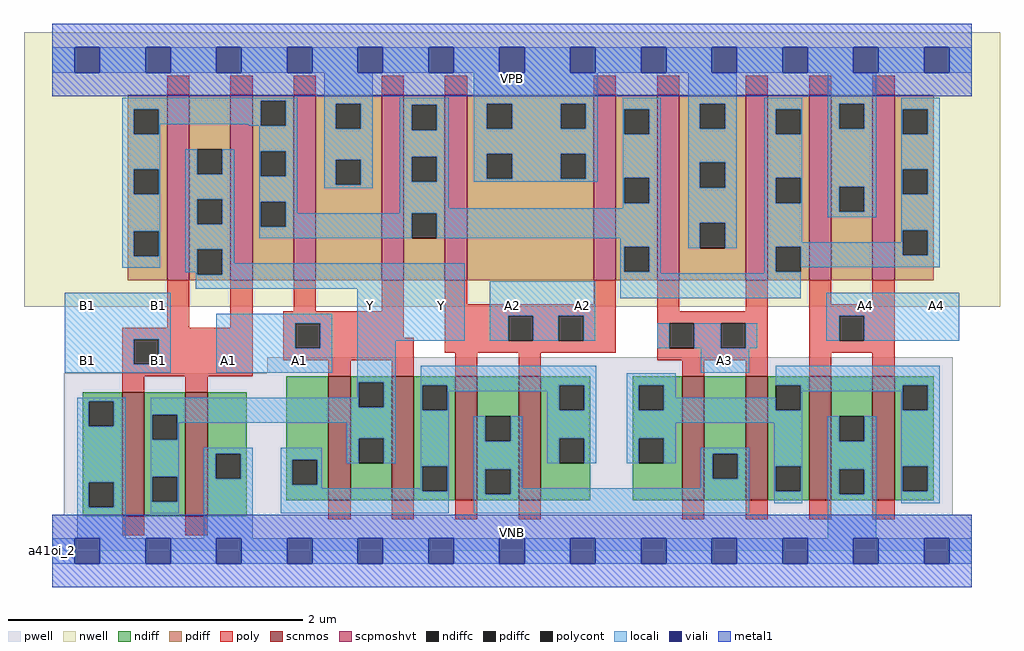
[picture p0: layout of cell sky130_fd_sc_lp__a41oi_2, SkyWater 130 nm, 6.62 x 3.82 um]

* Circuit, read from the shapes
.subckt sky130_fd_sc_lp__a41oi_2 A1 A2 A3 A4 B1 VGND VNB VPB VPWR Y
XM1 Y B1 VGND VNB sky130_fd_pr__nfet_01v8 w=0.84 l=0.15 m=2
XM2 Y A1 n1 VNB sky130_fd_pr__nfet_01v8 w=0.84 l=0.15 m=2
XM3 n2 A2 n1 VNB sky130_fd_pr__nfet_01v8 w=0.84 l=0.15 m=2
XM4 n2 A3 n3 VNB sky130_fd_pr__nfet_01v8 w=0.84 l=0.15 m=2
XM5 VGND A4 n3 VNB sky130_fd_pr__nfet_01v8 w=0.84 l=0.15 m=2
XM6 Y B1 n4 VPB sky130_fd_pr__pfet_01v8_hvt w=1.26 l=0.15 m=2
XM7 VPWR A1 n4 VPB sky130_fd_pr__pfet_01v8_hvt w=1.26 l=0.15 m=2
XM8 VPWR A2 n4 VPB sky130_fd_pr__pfet_01v8_hvt w=1.26 l=0.15 m=2
XM9 VPWR A3 n4 VPB sky130_fd_pr__pfet_01v8_hvt w=1.26 l=0.15 m=2
XM10 VPWR A4 n4 VPB sky130_fd_pr__pfet_01v8_hvt w=1.26 l=0.15 m=2
.ends

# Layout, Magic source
magic
tech sky130A
magscale 1 2
<< nwell >>
rect -38 331 1286 704
<< pwell >>
rect 292 241 1222 263
rect 16 49 1222 241
rect 0 0 1248 49
<< scnmos >>
rect 95 47 125 215
rect 181 47 211 215
rect 375 69 405 237
rect 461 69 491 237
rect 547 69 577 237
rect 633 69 663 237
rect 855 69 885 237
rect 941 69 971 237
rect 1027 69 1057 237
rect 1113 69 1143 237
<< scpmoshvt >>
rect 156 367 186 619
rect 242 367 272 619
rect 328 367 358 619
rect 447 367 477 619
rect 533 367 563 619
rect 735 367 765 619
rect 821 367 851 619
rect 941 367 971 619
rect 1027 367 1057 619
rect 1113 367 1143 619
<< ndiff >>
rect 42 203 95 215
rect 42 169 50 203
rect 84 169 95 203
rect 42 93 95 169
rect 42 59 50 93
rect 84 59 95 93
rect 42 47 95 59
rect 125 185 181 215
rect 125 151 136 185
rect 170 151 181 185
rect 125 101 181 151
rect 125 67 136 101
rect 170 67 181 101
rect 125 47 181 67
rect 211 132 264 215
rect 211 98 222 132
rect 256 98 264 132
rect 211 47 264 98
rect 318 124 375 237
rect 318 90 326 124
rect 360 90 375 124
rect 318 69 375 90
rect 405 229 461 237
rect 405 195 416 229
rect 450 195 461 229
rect 405 153 461 195
rect 405 119 416 153
rect 450 119 461 153
rect 405 69 461 119
rect 491 225 547 237
rect 491 191 502 225
rect 536 191 547 225
rect 491 115 547 191
rect 491 81 502 115
rect 536 81 547 115
rect 491 69 547 81
rect 577 183 633 237
rect 577 149 588 183
rect 622 149 633 183
rect 577 111 633 149
rect 577 77 588 111
rect 622 77 633 111
rect 577 69 633 77
rect 663 225 730 237
rect 663 191 688 225
rect 722 191 730 225
rect 663 153 730 191
rect 663 119 688 153
rect 722 119 730 153
rect 663 69 730 119
rect 788 225 855 237
rect 788 191 796 225
rect 830 191 855 225
rect 788 153 855 191
rect 788 119 796 153
rect 830 119 855 153
rect 788 69 855 119
rect 885 132 941 237
rect 885 98 896 132
rect 930 98 941 132
rect 885 69 941 98
rect 971 225 1027 237
rect 971 191 982 225
rect 1016 191 1027 225
rect 971 115 1027 191
rect 971 81 982 115
rect 1016 81 1027 115
rect 971 69 1027 81
rect 1057 183 1113 237
rect 1057 149 1068 183
rect 1102 149 1113 183
rect 1057 111 1113 149
rect 1057 77 1068 111
rect 1102 77 1113 111
rect 1057 69 1113 77
rect 1143 225 1196 237
rect 1143 191 1154 225
rect 1188 191 1196 225
rect 1143 115 1196 191
rect 1143 81 1154 115
rect 1188 81 1196 115
rect 1143 69 1196 81
<< pdiff >>
rect 103 599 156 619
rect 103 565 111 599
rect 145 565 156 599
rect 103 518 156 565
rect 103 484 111 518
rect 145 484 156 518
rect 103 434 156 484
rect 103 400 111 434
rect 145 400 156 434
rect 103 367 156 400
rect 186 545 242 619
rect 186 511 197 545
rect 231 511 242 545
rect 186 477 242 511
rect 186 443 197 477
rect 231 443 242 477
rect 186 409 242 443
rect 186 375 197 409
rect 231 375 242 409
rect 186 367 242 375
rect 272 611 328 619
rect 272 577 283 611
rect 317 577 328 611
rect 272 542 328 577
rect 272 508 283 542
rect 317 508 328 542
rect 272 474 328 508
rect 272 440 283 474
rect 317 440 328 474
rect 272 367 328 440
rect 358 607 447 619
rect 358 573 385 607
rect 419 573 447 607
rect 358 531 447 573
rect 358 497 385 531
rect 419 497 447 531
rect 358 367 447 497
rect 477 605 533 619
rect 477 571 488 605
rect 522 571 533 605
rect 477 535 533 571
rect 477 501 488 535
rect 522 501 533 535
rect 477 458 533 501
rect 477 424 488 458
rect 522 424 533 458
rect 477 367 533 424
rect 563 607 735 619
rect 563 573 590 607
rect 624 573 690 607
rect 724 573 735 607
rect 563 539 735 573
rect 563 505 590 539
rect 624 505 690 539
rect 724 505 735 539
rect 563 367 735 505
rect 765 599 821 619
rect 765 565 776 599
rect 810 565 821 599
rect 765 506 821 565
rect 765 472 776 506
rect 810 472 821 506
rect 765 413 821 472
rect 765 379 776 413
rect 810 379 821 413
rect 765 367 821 379
rect 851 607 941 619
rect 851 573 879 607
rect 913 573 941 607
rect 851 527 941 573
rect 851 493 879 527
rect 913 493 941 527
rect 851 445 941 493
rect 851 411 879 445
rect 913 411 941 445
rect 851 367 941 411
rect 971 599 1027 619
rect 971 565 982 599
rect 1016 565 1027 599
rect 971 506 1027 565
rect 971 472 982 506
rect 1016 472 1027 506
rect 971 413 1027 472
rect 971 379 982 413
rect 1016 379 1027 413
rect 971 367 1027 379
rect 1057 607 1113 619
rect 1057 573 1068 607
rect 1102 573 1113 607
rect 1057 494 1113 573
rect 1057 460 1068 494
rect 1102 460 1113 494
rect 1057 367 1113 460
rect 1143 599 1196 619
rect 1143 565 1154 599
rect 1188 565 1196 599
rect 1143 518 1196 565
rect 1143 484 1154 518
rect 1188 484 1196 518
rect 1143 435 1196 484
rect 1143 401 1154 435
rect 1188 401 1196 435
rect 1143 367 1196 401
<< ndiffc >>
rect 50 169 84 203
rect 50 59 84 93
rect 136 151 170 185
rect 136 67 170 101
rect 222 98 256 132
rect 326 90 360 124
rect 416 195 450 229
rect 416 119 450 153
rect 502 191 536 225
rect 502 81 536 115
rect 588 149 622 183
rect 588 77 622 111
rect 688 191 722 225
rect 688 119 722 153
rect 796 191 830 225
rect 796 119 830 153
rect 896 98 930 132
rect 982 191 1016 225
rect 982 81 1016 115
rect 1068 149 1102 183
rect 1068 77 1102 111
rect 1154 191 1188 225
rect 1154 81 1188 115
<< pdiffc >>
rect 111 565 145 599
rect 111 484 145 518
rect 111 400 145 434
rect 197 511 231 545
rect 197 443 231 477
rect 197 375 231 409
rect 283 577 317 611
rect 283 508 317 542
rect 283 440 317 474
rect 385 573 419 607
rect 385 497 419 531
rect 488 571 522 605
rect 488 501 522 535
rect 488 424 522 458
rect 590 573 624 607
rect 690 573 724 607
rect 590 505 624 539
rect 690 505 724 539
rect 776 565 810 599
rect 776 472 810 506
rect 776 379 810 413
rect 879 573 913 607
rect 879 493 913 527
rect 879 411 913 445
rect 982 565 1016 599
rect 982 472 1016 506
rect 982 379 1016 413
rect 1068 573 1102 607
rect 1068 460 1102 494
rect 1154 565 1188 599
rect 1154 484 1188 518
rect 1154 401 1188 435
<< poly >>
rect 156 619 186 645
rect 242 619 272 645
rect 328 619 358 645
rect 447 619 477 645
rect 533 619 563 645
rect 735 619 765 645
rect 821 619 851 645
rect 941 619 971 645
rect 1027 619 1057 645
rect 1113 619 1143 645
rect 156 303 186 367
rect 242 303 272 367
rect 328 325 358 367
rect 447 325 477 367
rect 95 287 272 303
rect 95 253 111 287
rect 145 253 272 287
rect 314 309 477 325
rect 314 275 330 309
rect 364 289 477 309
rect 533 335 563 367
rect 735 335 765 367
rect 533 319 765 335
rect 364 275 491 289
rect 314 259 491 275
rect 533 285 619 319
rect 653 285 687 319
rect 721 285 765 319
rect 533 269 765 285
rect 821 325 851 367
rect 941 325 971 367
rect 821 309 971 325
rect 821 275 837 309
rect 871 275 907 309
rect 941 275 971 309
rect 95 237 272 253
rect 375 237 405 259
rect 461 237 491 259
rect 547 237 577 269
rect 633 237 663 269
rect 821 259 971 275
rect 855 237 885 259
rect 941 237 971 259
rect 1027 335 1057 367
rect 1113 335 1143 367
rect 1027 319 1143 335
rect 1027 285 1068 319
rect 1102 285 1143 319
rect 1027 269 1143 285
rect 1027 237 1057 269
rect 1113 237 1143 269
rect 95 215 125 237
rect 181 215 211 237
rect 95 21 125 47
rect 181 21 211 47
rect 375 43 405 69
rect 461 43 491 69
rect 547 43 577 69
rect 633 43 663 69
rect 855 43 885 69
rect 941 43 971 69
rect 1027 43 1057 69
rect 1113 43 1143 69
<< polycont >>
rect 111 253 145 287
rect 330 275 364 309
rect 619 285 653 319
rect 687 285 721 319
rect 837 275 871 309
rect 907 275 941 309
rect 1068 285 1102 319
<< locali >>
rect 0 649 31 683
rect 65 649 127 683
rect 161 649 223 683
rect 257 649 319 683
rect 353 649 415 683
rect 449 649 511 683
rect 545 649 607 683
rect 641 649 703 683
rect 737 649 799 683
rect 833 649 895 683
rect 929 649 991 683
rect 1025 649 1087 683
rect 1121 649 1183 683
rect 1217 649 1248 683
rect 95 611 333 615
rect 95 599 283 611
rect 95 565 111 599
rect 145 579 283 599
rect 145 565 147 579
rect 267 577 283 579
rect 317 577 333 611
rect 95 518 147 565
rect 95 484 111 518
rect 145 484 147 518
rect 95 434 147 484
rect 95 400 111 434
rect 145 400 147 434
rect 95 384 147 400
rect 181 511 197 545
rect 231 511 247 545
rect 181 477 247 511
rect 181 443 197 477
rect 231 443 247 477
rect 181 409 247 443
rect 281 542 333 577
rect 281 508 283 542
rect 317 508 333 542
rect 281 474 333 508
rect 369 607 435 649
rect 369 573 385 607
rect 419 573 435 607
rect 369 531 435 573
rect 369 497 385 531
rect 419 497 435 531
rect 369 492 435 497
rect 472 605 538 615
rect 472 571 488 605
rect 522 571 538 605
rect 472 535 538 571
rect 472 501 488 535
rect 522 501 538 535
rect 572 607 740 649
rect 572 573 590 607
rect 624 573 690 607
rect 724 573 740 607
rect 572 539 740 573
rect 572 505 590 539
rect 624 505 690 539
rect 724 505 740 539
rect 572 501 740 505
rect 774 599 826 615
rect 774 565 776 599
rect 810 565 826 599
rect 774 506 826 565
rect 281 440 283 474
rect 317 458 333 474
rect 472 465 538 501
rect 774 472 776 506
rect 810 472 826 506
rect 774 465 826 472
rect 472 458 826 465
rect 317 440 488 458
rect 281 424 488 440
rect 522 424 826 458
rect 181 378 197 409
rect 195 375 197 378
rect 231 390 247 409
rect 771 413 826 424
rect 231 375 560 390
rect 195 356 560 375
rect 771 379 776 413
rect 810 379 826 413
rect 863 607 929 649
rect 863 573 879 607
rect 913 573 929 607
rect 863 527 929 573
rect 863 493 879 527
rect 913 493 929 527
rect 863 445 929 493
rect 863 411 879 445
rect 913 411 929 445
rect 966 599 1018 615
rect 966 565 982 599
rect 1016 565 1018 599
rect 966 506 1018 565
rect 966 472 982 506
rect 1016 472 1018 506
rect 966 419 1018 472
rect 1052 607 1118 649
rect 1052 573 1068 607
rect 1102 573 1118 607
rect 1052 494 1118 573
rect 1052 460 1068 494
rect 1102 460 1118 494
rect 1052 453 1118 460
rect 1152 599 1204 615
rect 1152 565 1154 599
rect 1188 565 1204 599
rect 1152 518 1204 565
rect 1152 484 1154 518
rect 1188 484 1204 518
rect 1152 435 1204 484
rect 1152 419 1154 435
rect 966 413 1154 419
rect 771 377 826 379
rect 966 379 982 413
rect 1016 401 1154 413
rect 1188 401 1204 435
rect 1016 385 1204 401
rect 966 377 1016 379
rect 17 287 161 350
rect 17 253 111 287
rect 145 253 161 287
rect 17 242 161 253
rect 223 309 380 322
rect 223 275 330 309
rect 364 275 380 309
rect 223 242 380 275
rect 414 285 560 356
rect 594 319 737 366
rect 771 343 1016 377
rect 594 285 619 319
rect 653 285 687 319
rect 721 285 737 319
rect 1050 319 1231 350
rect 414 229 466 285
rect 821 275 837 309
rect 871 275 907 309
rect 941 275 957 309
rect 1050 285 1068 319
rect 1102 285 1231 319
rect 414 208 416 229
rect 34 203 100 208
rect 34 169 50 203
rect 84 169 100 203
rect 34 93 100 169
rect 34 59 50 93
rect 84 59 100 93
rect 34 17 100 59
rect 134 195 416 208
rect 450 195 466 229
rect 134 185 466 195
rect 134 151 136 185
rect 170 174 466 185
rect 170 151 172 174
rect 134 101 172 151
rect 400 153 466 174
rect 134 67 136 101
rect 170 67 172 101
rect 134 51 172 67
rect 206 132 272 140
rect 206 98 222 132
rect 256 98 272 132
rect 206 17 272 98
rect 310 124 366 140
rect 310 90 326 124
rect 360 90 366 124
rect 400 119 416 153
rect 450 119 466 153
rect 500 225 738 251
rect 880 242 946 275
rect 500 191 502 225
rect 536 217 688 225
rect 536 191 538 217
rect 310 85 366 90
rect 500 115 538 191
rect 672 191 688 217
rect 722 191 738 225
rect 500 85 502 115
rect 310 81 502 85
rect 536 81 538 115
rect 310 51 538 81
rect 572 149 588 183
rect 622 149 638 183
rect 572 111 638 149
rect 672 153 738 191
rect 672 119 688 153
rect 722 119 738 153
rect 780 225 846 241
rect 780 191 796 225
rect 830 208 846 225
rect 982 225 1204 251
rect 830 191 982 208
rect 1016 217 1154 225
rect 1016 191 1018 217
rect 780 174 1018 191
rect 1152 191 1154 217
rect 1188 191 1204 225
rect 780 153 846 174
rect 780 119 796 153
rect 830 119 846 153
rect 880 132 946 140
rect 572 77 588 111
rect 622 85 638 111
rect 880 98 896 132
rect 930 98 946 132
rect 880 85 946 98
rect 622 77 946 85
rect 572 51 946 77
rect 980 115 1018 174
rect 980 81 982 115
rect 1016 81 1018 115
rect 980 65 1018 81
rect 1052 149 1068 183
rect 1102 149 1118 183
rect 1052 111 1118 149
rect 1052 77 1068 111
rect 1102 77 1118 111
rect 1052 17 1118 77
rect 1152 115 1204 191
rect 1152 81 1154 115
rect 1188 81 1204 115
rect 1152 65 1204 81
rect 0 -17 31 17
rect 65 -17 127 17
rect 161 -17 223 17
rect 257 -17 319 17
rect 353 -17 415 17
rect 449 -17 511 17
rect 545 -17 607 17
rect 641 -17 703 17
rect 737 -17 799 17
rect 833 -17 895 17
rect 929 -17 991 17
rect 1025 -17 1087 17
rect 1121 -17 1183 17
rect 1217 -17 1248 17
<< viali >>
rect 31 649 65 683
rect 127 649 161 683
rect 223 649 257 683
rect 319 649 353 683
rect 415 649 449 683
rect 511 649 545 683
rect 607 649 641 683
rect 703 649 737 683
rect 799 649 833 683
rect 895 649 929 683
rect 991 649 1025 683
rect 1087 649 1121 683
rect 1183 649 1217 683
rect 31 -17 65 17
rect 127 -17 161 17
rect 223 -17 257 17
rect 319 -17 353 17
rect 415 -17 449 17
rect 511 -17 545 17
rect 607 -17 641 17
rect 703 -17 737 17
rect 799 -17 833 17
rect 895 -17 929 17
rect 991 -17 1025 17
rect 1087 -17 1121 17
rect 1183 -17 1217 17
<< metal1 >>
rect 0 683 1248 715
rect 0 649 31 683
rect 65 649 127 683
rect 161 649 223 683
rect 257 649 319 683
rect 353 649 415 683
rect 449 649 511 683
rect 545 649 607 683
rect 641 649 703 683
rect 737 649 799 683
rect 833 649 895 683
rect 929 649 991 683
rect 1025 649 1087 683
rect 1121 649 1183 683
rect 1217 649 1248 683
rect 0 617 1248 649
rect 0 17 1248 49
rect 0 -17 31 17
rect 65 -17 127 17
rect 161 -17 223 17
rect 257 -17 319 17
rect 353 -17 415 17
rect 449 -17 511 17
rect 545 -17 607 17
rect 641 -17 703 17
rect 737 -17 799 17
rect 833 -17 895 17
rect 929 -17 991 17
rect 1025 -17 1087 17
rect 1121 -17 1183 17
rect 1217 -17 1248 17
rect 0 -49 1248 -17
<< labels >>
flabel pwell s 0 0 1248 49 0 FreeSans 200 0 0 0 VNB
port 7 nsew ground bidirectional
flabel nwell s 0 617 1248 666 0 FreeSans 200 0 0 0 VPB
port 8 nsew power bidirectional
rlabel comment s 0 0 0 0 4 a41oi_2
flabel metal1 s 0 617 1248 666 0 FreeSans 340 0 0 0 VPWR
port 9 nsew power bidirectional
flabel metal1 s 0 0 1248 49 0 FreeSans 340 0 0 0 VGND
port 6 nsew ground bidirectional
flabel locali s 415 316 449 350 0 FreeSans 340 0 0 0 Y
port 10 nsew signal output
flabel locali s 511 316 545 350 0 FreeSans 340 0 0 0 Y
port 10 nsew signal output
flabel locali s 223 242 257 276 0 FreeSans 340 0 0 0 A1
port 1 nsew signal input
flabel locali s 319 242 353 276 0 FreeSans 340 0 0 0 A1
port 1 nsew signal input
flabel locali s 607 316 641 350 0 FreeSans 340 0 0 0 A2
port 2 nsew signal input
flabel locali s 703 316 737 350 0 FreeSans 340 0 0 0 A2
port 2 nsew signal input
flabel locali s 895 242 929 276 0 FreeSans 340 0 0 0 A3
port 3 nsew signal input
flabel locali s 1087 316 1121 350 0 FreeSans 340 0 0 0 A4
port 4 nsew signal input
flabel locali s 1183 316 1217 350 0 FreeSans 340 0 0 0 A4
port 4 nsew signal input
flabel locali s 31 242 65 276 0 FreeSans 340 0 0 0 B1
port 5 nsew signal input
flabel locali s 31 316 65 350 0 FreeSans 340 0 0 0 B1
port 5 nsew signal input
flabel locali s 127 242 161 276 0 FreeSans 340 0 0 0 B1
port 5 nsew signal input
flabel locali s 127 316 161 350 0 FreeSans 340 0 0 0 B1
port 5 nsew signal input
<< properties >>
string LEFsite unit
string LEFclass CORE
string FIXED_BBOX 0 0 1248 666
string GDS_FILE $PDKPATH/libs.ref/sky130_fd_sc_lp/gds/sky130_fd_sc_lp.gds
string LEFsymmetry X Y R90
string GDS_END 1384452
string GDS_START 1373328
<< end >>
